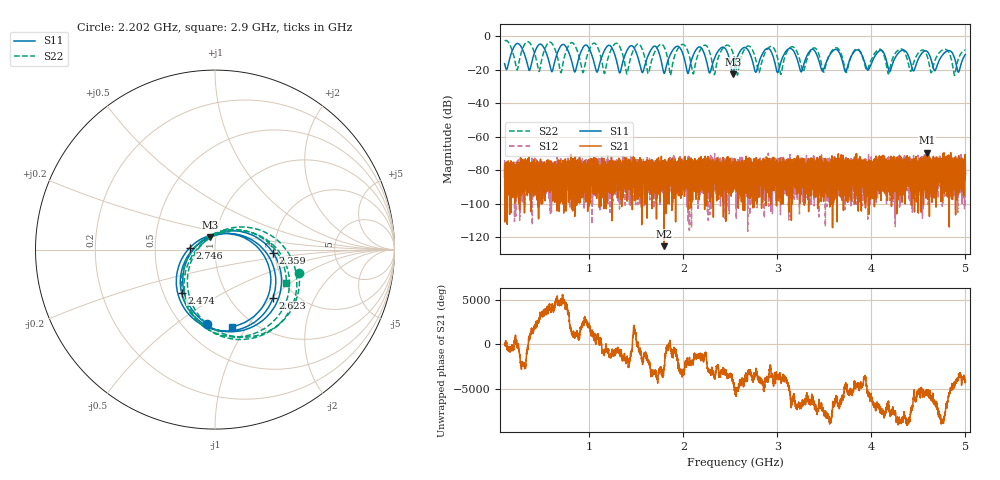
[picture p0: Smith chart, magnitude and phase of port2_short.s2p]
!Keysight Technologies N9917A: A.13.25
!Date: Thursday, 15 October 2026 16:18:51
!Timezone: (UTC-08:00) Pacific Time (US & Canada)
!Model: N9917A
!Serial: MY56072049
!GPS Latitude:
!GPS Longitude:
!GPS TimeStamp: 0001-01-01 00:00:00Z
!GPS Seconds Since Last Read: 0
!CHECKSUM:1239102879
!Correction: S11(Rdy)S21(Rdy)S12(Rdy)S22(Rdy)
!S2P File: Measurements:S11,S21,S12,S22:
# Hz S DB R 50
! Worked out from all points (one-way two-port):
!   10001 points, 100 MHz to 5 GHz, reference 50 ohm
!   highest |S21| = -69.46 dB at 4.591 GHz (marker M1); lowest = -125.4 dB at 1.796 GHz (marker M2)
!   lowest |S11| = -22.5 dB at 2.526 GHz (marker M3), VSWR 1.16, Z = 46.9 + j6.57 ohm
!   |S11| at or under -10 dB: 3.412 GHz to 3.57 GHz (157.2 MHz wide, 4.5 % of centre); 3.89 GHz to 4.06 GHz (170.5 MHz wide, 4.29 % of centre); 4.608 GHz to 4.774 GHz (166.1 MHz wide, 3.54 % of centre) (the widest 3 of 21)
!   |S22| runs from -23.4 to -2.4 dB; largest |S21 - S12| = 0.00051
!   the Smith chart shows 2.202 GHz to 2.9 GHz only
!   S11 on the Smith chart (normalised r, x): 2.202 GHz: 0.66, -0.66; 2.359 GHz: 1.95, -0.07; 2.474 GHz: 0.62, -0.33; 2.623 GHz: 1.56, -1.01; 2.746 GHz: 0.75, +0.02; 2.9 GHz: 0.81, -0.86
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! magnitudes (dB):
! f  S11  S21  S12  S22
! 100 MHz  -16.3  -78.4  -89.2  -2.7
! 230.8 MHz  -4.3  -88.2  -82.0  -20.0
! 345 MHz  -17.4  -81.8  -86.0  -3.1
! 916.8 MHz  -8.5  -79.1  -75.6  -18.1
! 1.521 GHz  -13.2  -95.8  -88.9  -4.5
! 1.63 GHz  -10.9  -80.9  -80.4  -22.2
! 1.734 GHz  -8.5  -90.5  -86.8  -5.9
! 1.796 GHz  -22.1  -125.4  -81.8  -6.3
! 2.106 GHz  -11.2  -80.1  -89.8  -22.4
! 2.202 GHz  -7.6  -81.6  -85.5  -6.3
! 2.359 GHz  -9.8  -76.8  -79.3  -15.2
! 2.474 GHz  -10.3  -71.9  -84.8  -5.3
! 2.526 GHz  -22.5  -85.5  -72.8  -9.5
! 2.55 GHz  -16.9  -84.4  -79.1  -14.7
! 2.623 GHz  -7.5  -86.0  -79.4  -11.2
! 2.746 GHz  -17.1  -84.2  -80.2  -9.4
! 2.9 GHz  -7.1  -79.5  -79.7  -7.2
! 3.004 GHz  -21.7  -89.4  -77.7  -13.3
! 3.367 GHz  -7.8  -85.9  -81.4  -7.7
! 4.184 GHz  -20.0  -90.1  -76.5  -22.2
! 4.591 GHz  -8.9  -69.5  -75.8  -11.4
! 5 GHz  -10.8  -82.2  -81.9  -8.1
